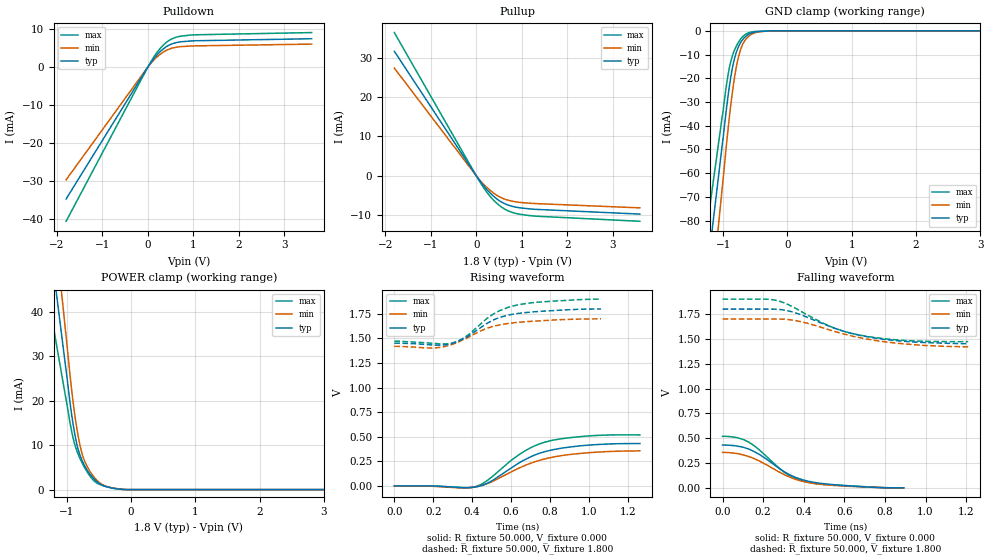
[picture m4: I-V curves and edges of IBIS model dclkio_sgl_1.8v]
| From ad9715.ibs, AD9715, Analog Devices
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[Model]   dclkio_sgl_1.8v
Model_type I/O
Vinl=5.400E-01
Vinh=1.260E+00
Vref=0.000E+00
Rref=1.000E+06
Cref=0.000E+00
Vmeas=9.000E-01
C_comp   6.290E-13   6.240E-13   6.330E-13
[Voltage Range]   1.800E+00   1.700E+00   1.900E+00
[POWER Clamp Reference]   1.800E+00   1.700E+00   1.900E+00
[GND Clamp Reference]   0.000E+00   0.000E+00   0.000E+00
[Pullup Reference]   1.800E+00   1.700E+00   1.900E+00
[Pulldown Reference]   0.000E+00   0.000E+00   0.000E+00
[Temperature Range]   25   85   -40
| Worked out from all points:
|   slope of the pulldown table from 0 to 0.27 V, typ, clamps not added: 67.5 ohm
|   slope of the pullup table from 0 to 0.27 V, typ, clamps not added: 67.6 ohm
|   GND clamp passes 1 mA (typ) near -0.57 V on its own axis
|   POWER clamp passes 1 mA (typ) near -0.44 V on its own axis
|   rising waveform, R_fixture 50.000, V_fixture 0.000: 20-80 % time 239ps typ, 266ps min, 221ps max; typ from 0 V to 0.431 V
|   falling waveform, R_fixture 50.000, V_fixture 0.000: 20-80 % time 212ps typ, 217ps min, 188ps max; typ from 0.431 V to 0 V
|   rising waveform, R_fixture 50.000, V_fixture 1.800: 20-80 % time 194ps typ, 216ps min, 190ps max; typ from 1.45 V to 1.8 V
|   falling waveform, R_fixture 50.000, V_fixture 1.800: 20-80 % time 309ps typ, 340ps min, 279ps max; typ from 1.8 V to 1.45 V
[GND Clamp]
-1.8V     -227.8mA   -280.9mA   -190.7mA
-1.02V    -49.34mA   -67.63mA   -37.2mA
-920mV    -26.66mA   -40.46mA   -17.92mA
-860mV    -16.21mA   -26.61mA   -10.84mA
-820mV    -11.33mA   -19.08mA   -7.866mA
-780mV    -7.921mA   -13.14mA   -5.66mA
-740mV    -5.504mA   -8.817mA   -3.906mA
-700mV    -3.788mA   -5.878mA   -2.556mA
-640mV    -2.152mA   -3.315mA   -1.29mA
-520mV    -590.2uA   -943.4uA   -320.8uA
-260mV    0A         0A         0A
3.6V      0A         0A         0A
[Power Clamp]
-1.8V     118.2mA    145.3mA    85.99mA
-1.02V    28.03mA    35.98mA    21.12mA
-940mV    18.7mA     24.69mA    14.4mA
-900mV    14.71mA    19.67mA    11.59mA
-840mV    10.09mA    13.56mA    8.635mA
-800mV    8.046mA    10.46mA    7.238mA
-760mV    6.521mA    8.056mA    6.017mA
-700mV    4.803mA    5.738mA    4.43mA
-520mV    1.653mA    1.951mA    1.388mA
-380mV    635.3uA    710.5uA    644.9uA
-60mV     0A         0A         0A
3.6V      0A         0A         0A
[Pullup]
-1.8V     31.71mA    27.43mA    36.48mA
60mV      -1.004mA   -861.5uA   -1.182mA
200mV     -3.112mA   -2.608mA   -3.675mA
300mV     -4.348mA   -3.684mA   -5.204mA
500mV     -6.316mA   -5.323mA   -7.512mA
640mV     -7.221mA   -6.033mA   -8.62mA
800mV     -7.839mA   -6.531mA   -9.404mA
1.16V     -8.459mA   -7.012mA   -10.17mA
3.6V      -9.799mA   -8.213mA   -11.64mA
[Pulldown]
-1.8V     -34.7mA    -29.67mA   -40.56mA
0V        0A         0A         0A
200mV     3.158mA    2.614mA    3.809mA
400mV     5.257mA    4.301mA    6.39mA
520mV     5.997mA    4.874mA    7.314mA
620mV     6.365mA    5.149mA    7.784mA
940mV     6.798mA    5.469mA    8.351mA
3.6V      7.384mA    5.972mA    9.001mA
[Rising Waveform]
R_fixture = 50.000
V_fixture = 0.000
V_fixture_min = 0.000
V_fixture_max = 0.000
|  time   V(typ)   V(min)   V(max)
0s        0V         0V         0V
407.5ps   -13.76mV   -12.88mV   -11.41mV
450ps     4.745mV    5.261mV    19.54mV
492.5ps   41.93mV    35.29mV    77.19mV
595ps     174.3mV    136.5mV    250.6mV
662.5ps   257.9mV    200.6mV    345mV
767.5ps   344.8mV    271.5mV    440.9mV
852.5ps   381.6mV    306mV      478mV
1.002ns   415.5mV    338.4mV    509.1mV
1.263ns   431.1mV    356.8mV    518.6mV
[Falling Waveform]
R_fixture = 50.000
V_fixture = 0.000
V_fixture_min = 0.000
V_fixture_max = 0.000
|  time   V(typ)   V(min)   V(max)
0s        431.1mV    356.8mV    518.6mV
72.5ps    420.6mV    344.6mV    504.6mV
127.5ps   391.6mV    316.2mV    461.7mV
190ps     325.4mV    261.2mV    366mV
302.5ps   164.2mV    134.7mV    159.7mV
347.5ps   115.7mV    94.64mV    105.3mV
395ps     80.94mV    65.12mV    68.14mV
472.5ps   48.58mV    37.8mV     39.68mV
590ps     24.44mV    19.27mV    24.96mV
892.5ps   0V         0V         0V
[Rising Waveform]
R_fixture = 50.000
V_fixture = 1.800
V_fixture_min = 1.700
V_fixture_max = 1.900
|  time   V(typ)   V(min)   V(max)
0s        1.452V     1.42V      1.472V
192.5ps   1.434V     1.403V     1.452V
292.5ps   1.447V     1.436V     1.451V
330ps     1.473V     1.464V     1.476V
370ps     1.512V     1.501V     1.522V
472.5ps   1.648V     1.601V     1.697V
517.5ps   1.695V     1.628V     1.758V
590ps     1.739V     1.654V     1.819V
752.5ps   1.776V     1.68V      1.871V
1.063ns   1.8V       1.7V       1.9V
[Falling Waveform]
R_fixture = 50.000
V_fixture = 1.800
V_fixture_min = 1.700
V_fixture_max = 1.900
|  time   V(typ)   V(min)   V(max)
0s        1.8V       1.7V       1.9V
210ps     1.8V       1.7V       1.9V
272.5ps   1.797V     1.7V       1.883V
335ps     1.776V     1.692V     1.834V
375ps     1.751V     1.678V     1.79V
535ps     1.62V      1.585V     1.622V
610ps     1.569V     1.543V     1.569V
680ps     1.534V     1.51V      1.536V
907.5ps   1.473V     1.447V     1.483V
1.21ns    1.452V     1.42V      1.472V
[Ramp]
dV/dt_r   2.5857E-01/2.3799E-10   2.1366E-01/2.6488E-10   3.0879E-01/2.2127E-10
dV/dt_f   2.0881E-01/3.1031E-10   1.6775E-01/3.3703E-10   2.5665E-01/2.7822E-10
R_load = 50
